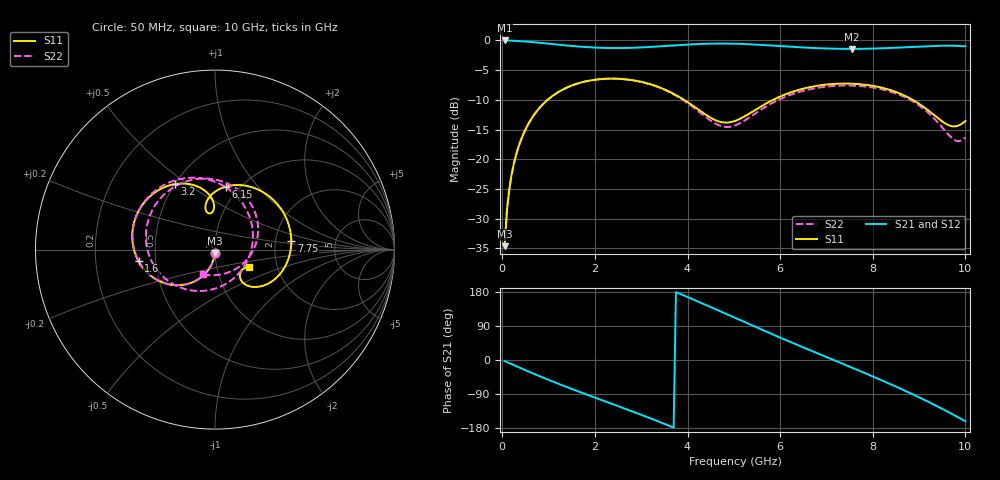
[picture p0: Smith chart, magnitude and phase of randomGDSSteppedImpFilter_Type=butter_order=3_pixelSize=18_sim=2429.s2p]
! freq	dB(S11)	phase(S11)	dB(S12)	phase(S12)
!  dB(S21)	phase(S21)	dB(S22)	phase(S22)
!S-par simulation data
#  GHz  S  DB  R 50
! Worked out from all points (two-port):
!   200 points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, 50 MHz to 10 GHz, reference 50 ohm
!   highest |S21| = 0.00 dB at 50 MHz (marker M1); lowest = -1.4 dB at 7.55 GHz (marker M2)
!   |S21| within 3 dB of the highest: start of sweep to end of sweep
!   lowest |S11| = -34.6 dB at 50 MHz (marker M3), VSWR 1.04, Z = 49.9 - j1.85 ohm
!   |S11| at or under -10 dB: start of sweep to 978.2 MHz; 3.925 GHz to 5.846 GHz (1.921 GHz wide, 39.3 % of centre); 8.864 GHz to end of sweep
!   |S22| runs from -34.6 to -6.4 dB; largest |S21 - S12| = 0
!   S11 on the Smith chart (normalised r, x): 50 MHz: 1.00, -0.04; 1.6 GHz: 0.40, -0.06; 3.2 GHz: 0.50, +0.45; 6.15 GHz: 0.87, +0.70; 7.75 GHz: 2.45, +0.28; 10 GHz: 1.43, -0.28
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0.05  -34.62 -92.7  -0.00 -2.7  -0.00 -2.7  -34.61 -92.7
0.1  -28.61 -95.6  -0.01 -5.5  -0.01 -5.5  -28.60 -95.6
0.2  -22.64 -101.2  -0.04 -10.9  -0.04 -10.9  -22.64 -101.2
0.45  -15.84 -114.8  -0.15 -24.3  -0.15 -24.3  -15.84 -114.7
1  -9.85 -143.0  -0.54 -52.5  -0.54 -52.5  -9.85 -143.1
1.6  -7.31 -171.4  -1.00 -81.1  -1.00 -81.1  -7.31 -172.0
1.75  -6.98 -178.1  -1.09 -88.0  -1.09 -88.0  -6.98 -179.0
2.45  -6.44 151.8  -1.28 -119.5  -1.28 -119.5  -6.44 148.3
3.2  -7.38 121.5  -1.09 -154.0  -1.09 -154.0  -7.41 110.2
3.4  -7.91 114.0  -1.00 -163.6  -1.00 -163.6  -7.96 98.8
4.2  -11.45 92.2  -0.62 155.7  -0.62 155.7  -11.72 40.5
5.05  -13.47 101.9  -0.56 109.8  -0.56 109.8  -14.23 -63.4
5.55  -11.28 99.6  -0.73 82.8  -0.73 82.8  -11.83 -116.3
6.15  -8.96 80.2  -1.03 51.3  -1.03 51.3  -9.37 -159.6
6.7  -7.77 56.1  -1.27 23.1  -1.27 23.1  -8.12 168.7
7.55  -7.28 15.8  -1.42 -20.2  -1.42 -20.2  -7.60 123.9
7.75  -7.38 6.3  -1.41 -30.4  -1.41 -30.4  -7.69 113.2
8.35  -8.28 -21.1  -1.27 -62.1  -1.27 -62.1  -8.54 78.9
8.8  -9.72 -38.9  -1.11 -87.0  -1.11 -87.0  -9.96 49.1
9.2  -11.78 -49.0  -0.96 -110.4  -0.96 -110.4  -12.18 16.0
9.75  -14.47 -38.5  -0.90 -145.0  -0.90 -145.0  -16.66 -61.0
10  -13.55 -26.7  -0.99 -161.6  -0.99 -161.6  -16.34 -115.0
